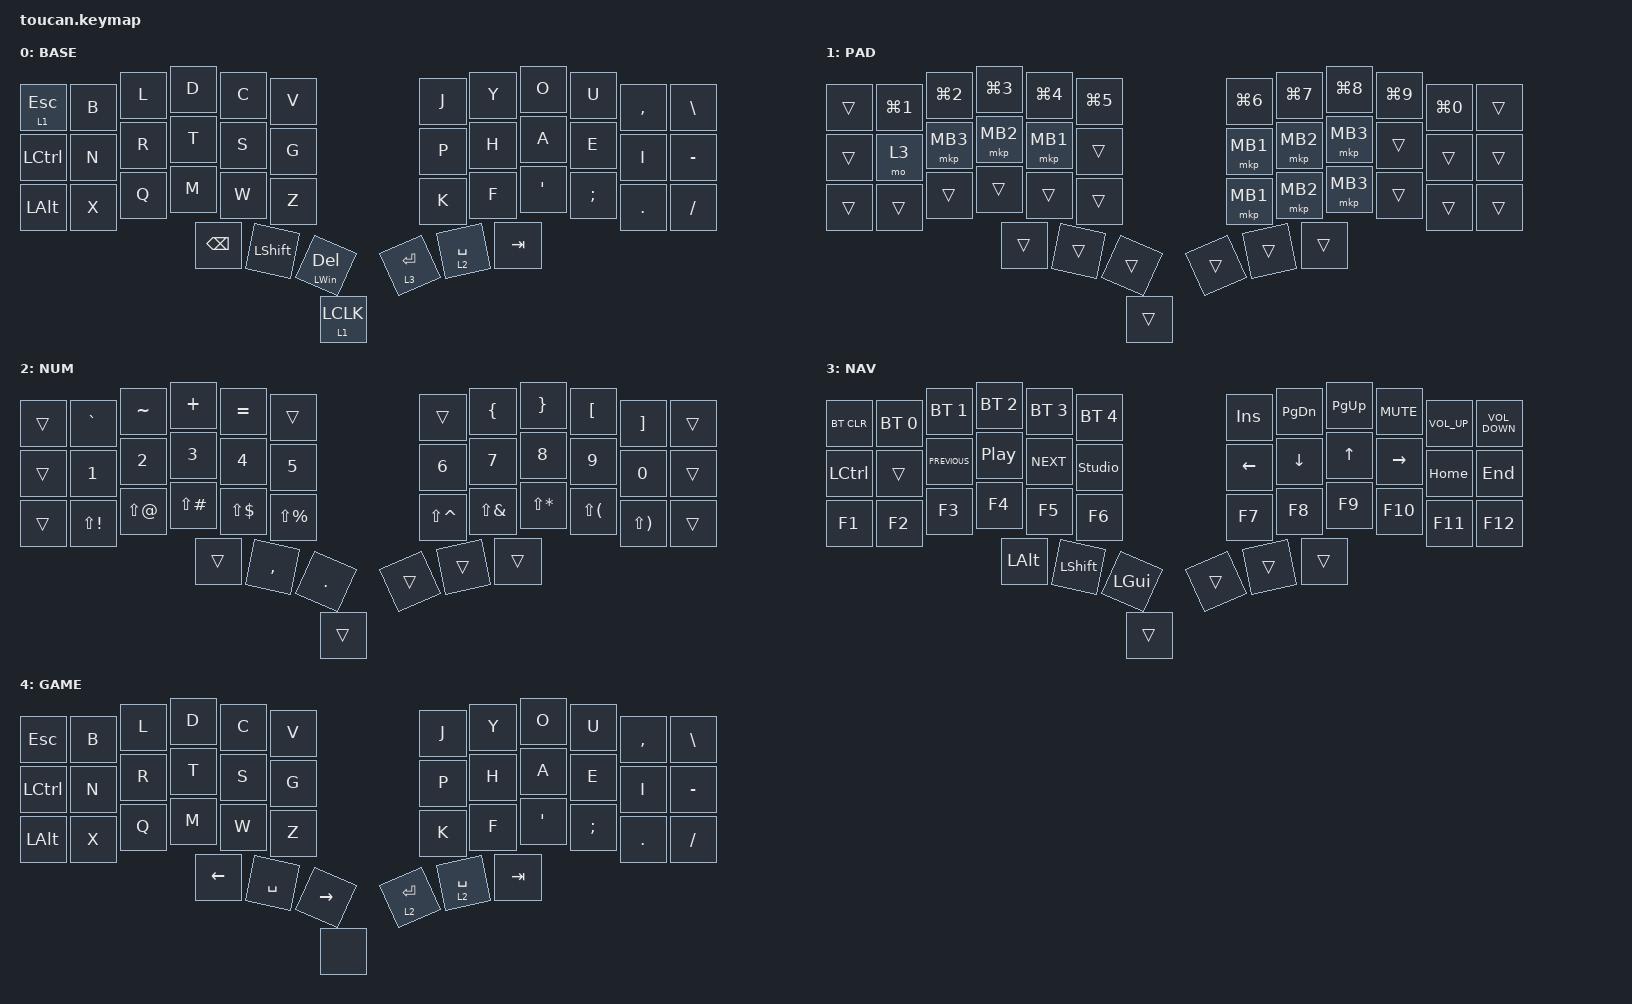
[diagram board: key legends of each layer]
#include <behaviors.dtsi>
#include <dt-bindings/zmk/bt.h>
#include <dt-bindings/zmk/keys.h>
#include <dt-bindings/zmk/pointing.h>

/ {
    conditional_layers { compatible = "zmk,conditional-layers"; };

    combos {
        compatible = "zmk,combos";

        GAME {
            bindings = <&to 4>;
            key-positions = <3 13 14 16>;
        };

        TYPE {
            bindings = <&to 0>;
            key-positions = <20 19 21 22>;
        };
    };

    behaviors {
        hold_preferred: hold_preferred {
            compatible = "zmk,behavior-hold-tap";
            label = "HOLD_PREFERRED";
            bindings = <&kp>, <&kp>;

            #binding-cells = <2>;
            quick-tap-ms = <150>;
            tapping-term-ms = <300>;
        };

        balanced: balanced {
            compatible = "zmk,behavior-hold-tap";
            label = "BALANCED";
            bindings = <&mo>, <&kp>;

            #binding-cells = <2>;
            flavor = "balanced";
            tapping-term-ms = <200>;
        };

        touchpad: touchpad {
            compatible = "zmk,behavior-hold-tap";
            label = "TOUCHPAD";
            bindings = <&mo>, <&mkp>;

            #binding-cells = <2>;
            flavor = "hold-preferred";
            tapping-term-ms = <150>;
            hold-while-undecided;
        };
    };

    keymap {
        compatible = "zmk,keymap";

        BASE {
            display-name = "BASE";
            bindings = <
&balanced 1 ESCAPE  &kp B  &kp L  &kp D          &kp C           &kp V                        &kp J        &kp Y        &kp O    &kp U             &kp COMMA  &kp BACKSLASH
&kp LCTRL           &kp N  &kp R  &kp T          &kp S           &kp G                        &kp P        &kp H        &kp A    &kp E             &kp I      &kp MINUS
&kp LEFT_ALT        &kp X  &kp Q  &kp M          &kp W           &kp Z                        &kp K        &kp F        &kp SQT  &kp SEMI          &kp DOT    &kp SLASH
                                  &kp BACKSPACE  &kp LEFT_SHIFT  &hold_preferred LWIN DELETE  &lt 3 ENTER  &lt 2 SPACE  &kp TAB  &touchpad 1 LCLK
            >;
        };

        PAD {
            display-name = "PAD";
            bindings = <
&trans  &kp LG(NUMBER_1)  &kp LG(N2)  &kp LG(N3)  &kp LG(N4)  &kp LG(N5)  &kp LG(N6)  &kp LG(N7)  &kp LG(N8)  &kp LG(N9)  &kp LG(N0)  &trans
&trans  &mo 3             &mkp MB3    &mkp MB2    &mkp MB1    &trans      &mkp MB1    &mkp MB2    &mkp MB3    &trans      &trans      &trans
&trans  &trans            &trans      &trans      &trans      &trans      &mkp MB1    &mkp MB2    &mkp MB3    &trans      &trans      &trans
                                      &trans      &trans      &trans      &trans      &trans      &trans      &trans
            >;
        };

        NUM {
            display-name = "NUM";
            bindings = <
&trans  &kp GRAVE     &kp TILDE   &kp PLUS       &kp EQUAL     &trans         &trans         &kp LEFT_BRACE  &kp RIGHT_BRACE  &kp LEFT_BRACKET  &kp RIGHT_BRACKET  &trans
&trans  &kp N1        &kp N2      &kp N3         &kp N4        &kp N5         &kp N6         &kp N7          &kp N8           &kp N9            &kp N0             &trans
&trans  &kp LS(EXCL)  &kp LS(AT)  &kp LS(POUND)  &kp LS(DLLR)  &kp LS(PRCNT)  &kp LS(CARET)  &kp LS(AMPS)    &kp LS(STAR)     &kp LS(LPAR)      &kp LS(RPAR)       &trans
                                  &trans         &kp COMMA     &kp PERIOD     &trans         &trans          &trans           &trans
            >;
        };

        NAV {
            display-name = "NAV";
            bindings = <
&bt BT_CLR  &bt BT_SEL 0  &bt BT_SEL 1    &bt BT_SEL 2      &bt BT_SEL 3    &bt BT_SEL 4  &kp INS   &kp PAGE_DOWN   &kp PG_UP     &kp C_MUTE  &kp C_VOLUME_UP  &kp C_VOLUME_DOWN
&kp LCTRL   &trans        &kp C_PREVIOUS  &kp C_PLAY_PAUSE  &kp C_NEXT      &studio_unlock  &kp LEFT  &kp DOWN_ARROW  &kp UP_ARROW  &kp RIGHT   &kp HOME         &kp END
&kp F1      &kp F2        &kp F3          &kp F4            &kp F5          &kp F6        &kp F7    &kp F8          &kp F9        &kp F10     &kp F11          &kp F12
                                          &kp LEFT_ALT      &kp LEFT_SHIFT  &kp LGUI      &trans    &trans          &trans        &trans
            >;
        };

        GAME {
            display-name = "GAME";
            bindings = <
&kp ESCAPE    &kp B  &kp L  &kp D     &kp C      &kp V      &kp J        &kp Y        &kp O    &kp U     &kp COMMA  &kp BACKSLASH
&kp LCTRL     &kp N  &kp R  &kp T     &kp S      &kp G      &kp P        &kp H        &kp A    &kp E     &kp I      &kp MINUS
&kp LEFT_ALT  &kp X  &kp Q  &kp M     &kp W      &kp Z      &kp K        &kp F        &kp SQT  &kp SEMI  &kp DOT    &kp SLASH
                            &kp LEFT  &kp SPACE  &kp RIGHT  &lt 2 ENTER  &lt 2 SPACE  &kp TAB  &none
            >;
        };
    };
};
